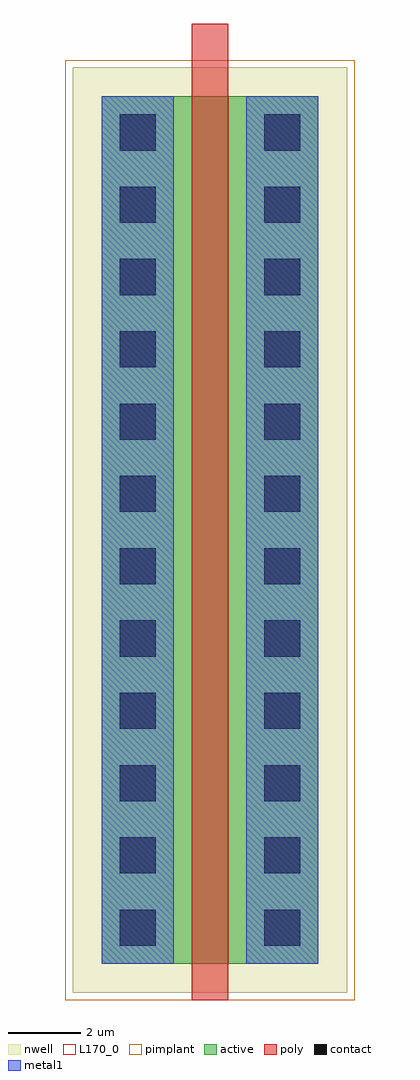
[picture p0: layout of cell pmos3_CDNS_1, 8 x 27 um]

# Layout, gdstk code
import gdstk
lib = gdstk.Library(unit=1e-6, precision=5e-10)
def R(c, l, rs):  # rectangles x0, y0, x1, y1
    for r in rs: c.add(gdstk.rectangle(r[:2], r[2:], *l))
def A(c, l, x, y, w, h, nx, ny, dx, dy):  # array of equal rectangles
    R(c, l, [(x+i*dx, y+j*dy, x+i*dx+w, y+j*dy+h) for i in range(nx) for j in range(ny)])
active = (1, 0)
nwell = (2, 0)
poly = (3, 0)
pimplant = (5, 0)
contact = (6, 0)
metal1 = (7, 0)
L170_0 = (170, 0)

pmos3_cdns_1 = lib.new_cell('pmos3_CDNS_1')
R(pmos3_cdns_1, active, [(1,1,7,25)])
R(pmos3_cdns_1, nwell, [(0.2,0.2,7.8,25.8)])
R(pmos3_cdns_1, poly, [(3.5,0,4.5,27), (3.6,25.6,4.4,25.9)])
R(pmos3_cdns_1, pimplant, [(0,0,8,26)])
A(pmos3_cdns_1, contact, 1.5, 1.5, 1, 1, 1, 12, 0, 2)
A(pmos3_cdns_1, contact, 5.5, 1.5, 1, 1, 1, 12, 0, 2)
R(pmos3_cdns_1, contact, [(5.5,1.5,6.5,2.5)])
R(pmos3_cdns_1, metal1, [(1,1,3,25), (5,1,7,25), (1.3,1.3,2.7,2.7), (5.3,1.3,6.7,2.7)])
R(pmos3_cdns_1, L170_0, [(4.5,1,7,25)])

lib.write_gds('pmos3_CDNS_1.gds')
